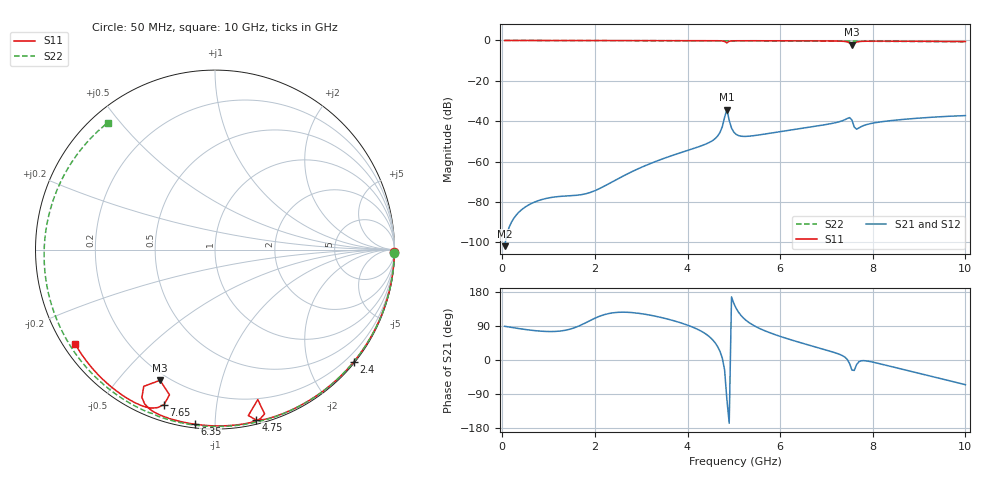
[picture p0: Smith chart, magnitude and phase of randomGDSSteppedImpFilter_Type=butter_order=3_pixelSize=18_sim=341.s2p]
! freq	dB(S11)	phase(S11)	dB(S12)	phase(S12)
!  dB(S21)	phase(S21)	dB(S22)	phase(S22)
!S-par simulation data
#  GHz  S  DB  R 50
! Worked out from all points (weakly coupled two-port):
!   200 points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, 50 MHz to 10 GHz, reference 50 ohm
!   highest |S21| = -34.21 dB at 4.85 GHz (marker M1); lowest = -101.9 dB at 50 MHz (marker M2)
!   lowest |S11| = -2.0 dB at 7.55 GHz (marker M3), VSWR 8.52, Z = 8.41 - j32.6 ohm
!   |S11| at or under -10 dB: nowhere
!   |S22| runs from -0.7 to 0.0 dB; largest |S21 - S12| = 0
!   S11 on the Smith chart (normalised r, x): 50 MHz: open; 2.4 GHz: 0.03, -2.83; 4.75 GHz: 0.03, -1.27; 6.35 GHz: 0.02, -0.89; 7.65 GHz: 0.07, -0.72; 10 GHz: 0.03, -0.31
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0.05  -0.00 -0.8  -101.91 89.0  -101.91 89.0  -0.00 -1.2
0.7  -0.01 -11.5  -80.03 77.5  -80.03 77.5  -0.02 -17.1
1.75  -0.04 -28.6  -76.22 95.2  -76.22 95.2  -0.05 -42.2
2.4  -0.05 -38.9  -69.73 124.7  -69.73 124.7  -0.07 -57.3
3.4  -0.07 -54.4  -59.18 113.1  -59.18 113.1  -0.11 -79.7
4.5  -0.11 -71.3  -50.17 58.4  -50.17 58.4  -0.15 -103.3
4.65  -0.13 -74.0  -47.35 35.3  -47.35 35.3  -0.16 -106.5
4.75  -0.22 -76.6  -42.81 5.4  -42.81 5.4  -0.17 -108.6
4.85  -1.22 -74.1  -34.21 -104.5  -34.21 -104.5  -0.21 -110.6
4.95  -0.21 -75.1  -43.40 166.5  -43.40 166.5  -0.18 -112.7
5.05  -0.15 -77.4  -46.53 136.3  -46.53 136.3  -0.18 -114.8
5.35  -0.14 -82.3  -47.39 96.9  -47.39 96.9  -0.20 -121.0
6.35  -0.18 -96.7  -43.93 48.9  -43.93 48.9  -0.26 -141.8
6.7  -0.20 -101.7  -42.72 36.5  -42.72 36.5  -0.29 -149.2
7.45  -0.74 -116.3  -38.66 1.4  -38.66 1.4  -0.36 -165.4
7.55  -2.05 -112.8  -39.44 -26.7  -39.44 -26.7  -0.37 -167.6
7.6  -1.43 -107.4  -42.90 -27.5  -42.90 -27.5  -0.38 -168.7
7.65  -0.83 -108.2  -43.94 -12.4  -43.94 -12.4  -0.38 -169.9
7.9  -0.35 -114.6  -41.46 -3.1  -41.46 -3.1  -0.41 -175.5
8.35  -0.34 -121.8  -39.82 -15.8  -39.82 -15.8  -0.46 174.0
9.2  -0.42 -133.8  -38.15 -41.3  -38.15 -41.3  -0.56 152.6
10  -0.54 -145.9  -37.22 -65.1  -37.22 -65.1  -0.67 130.1
